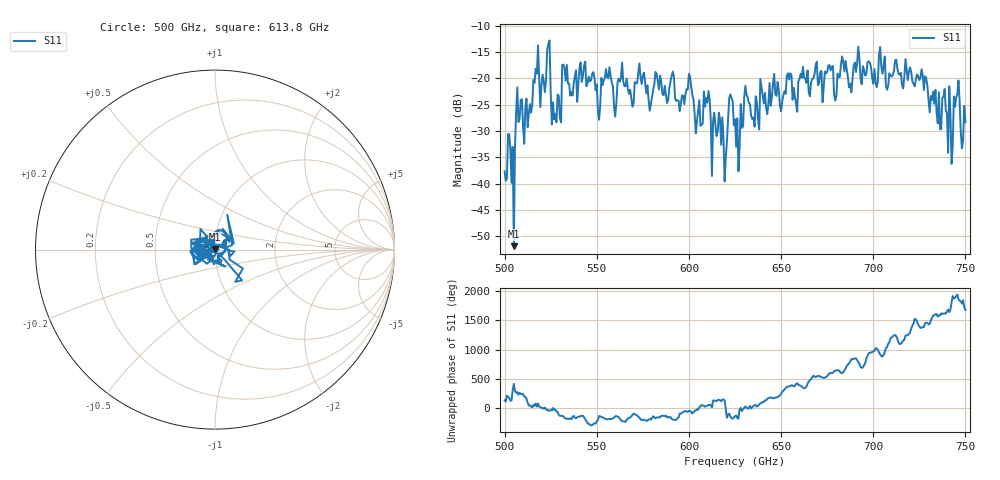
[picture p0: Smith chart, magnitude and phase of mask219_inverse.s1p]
!Created with skrf (http://scikit-rf.org).
# GHz S MA R 50.0
!freq magS11 angS11
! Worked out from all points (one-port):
!   401 points, 500 GHz to 750 GHz, reference 50 ohm
!   lowest |S11| = -51.9 dB at 505 GHz (marker M1), VSWR 1.01, Z = 50.2 + j0.191 ohm
!   |S11| at or under -10 dB: start of sweep to end of sweep
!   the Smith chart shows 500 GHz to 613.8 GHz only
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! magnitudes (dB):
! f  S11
! 500 GHz  -37.7
! 505 GHz  -51.9
! 507.5 GHz  -28.3
! 513.8 GHz  -24.9
! 516.9 GHz  -18.2
! 520.6 GHz  -19.3
! 523.8 GHz  -13.5
! 526.9 GHz  -27.8
! 531.2 GHz  -17.5
! 542.5 GHz  -19.5
! 550.6 GHz  -26.3
! 562.5 GHz  -20.6
! 593.8 GHz  -24.1
! 609.4 GHz  -23.7
! 618.8 GHz  -31.4
! 622.5 GHz  -23.1
! 625 GHz  -27.8
! 656.2 GHz  -24.1
! 676.9 GHz  -18.5
! 680 GHz  -23.4
! 683.8 GHz  -16.9
! 687.5 GHz  -21.0
! 691.2 GHz  -17.2
! 718.8 GHz  -20.4
! 738.8 GHz  -22.0
! 741.9 GHz  -26.7
! 745 GHz  -23.6
! 750 GHz  -28.4
